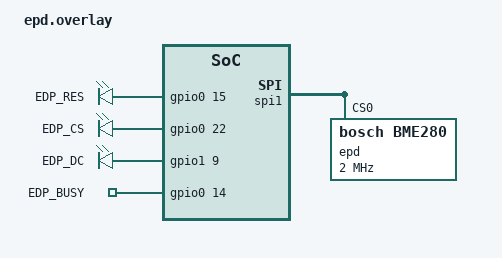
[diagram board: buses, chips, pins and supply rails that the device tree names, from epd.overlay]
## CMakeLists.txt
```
cmake_minimum_required(VERSION 3.20.0)
find_package(Zephyr REQUIRED HINTS $ENV{ZEPHYR_BASE})

project(e-paper)

target_sources(app PRIVATE src/main.c)

target_sources(app PRIVATE src/main.c)
target_sources(app PRIVATE src/epd1in54_V2.c)
target_sources(app PRIVATE src/epdif.c)
target_sources(app PRIVATE
  src/epdpaint.c
  src/font8.c
  src/font12.c
  src/font16.c
  src/font20.c
  src/font24.c
  src/imagedata.c
)
```

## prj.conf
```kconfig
# CONFIG_LOG=y
# CONFIG_LOG_BLOCK_IN_THREAD=y
# CONFIG_LOG_BUFFER_SIZE=4096

CONFIG_MAIN_STACK_SIZE=9000

CONFIG_REBOOT=y
CONFIG_POWEROFF=y
CONFIG_ADC=y
# CONFIG_GPIO=y
CONFIG_SENSOR=y
CONFIG_CLOCK_CONTROL_NRF_K32SRC_RC=y
CONFIG_TRACING=y
CONFIG_TIMESLICING=y
# CONFIG_SERIAL=y
CONFIG_UART_INTERRUPT_DRIVEN=y

CONFIG_SPI=y
# CONFIG_SPI_ASYNC=y
```

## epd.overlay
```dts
// To get started, press Ctrl+Space to bring up the completion menu and view the available nodes.

// You can also use the buttons in the sidebar to perform actions on nodes.
// Actions currently available include:

// * Enabling / disabling the node
// * Adding the bus to a bus
// * Removing the node
// * Connecting ADC channels

// For more help, browse the DeviceTree documentation at https: //docs.zephyrproject.org/latest/guides/dts/index.html
// You can also visit the nRF DeviceTree extension documentation at https: //nrfconnect.github.io/vscode-nrf-connect/devicetree/nrfdevicetree.html
/ {
	epd_out {
		compatible = "gpio-leds";
		 res: res {
			gpios = <&gpio0 15 GPIO_ACTIVE_HIGH>;
			label = "EDP_RES";
		};
		cs: cs {
			gpios = <&gpio0 22 GPIO_ACTIVE_HIGH>;
			label = "EDP_CS";
		};
		dc: dc {
			gpios = <&gpio1 9 GPIO_ACTIVE_HIGH>;
			label = "EDP_DC";
		};
	};

	epd_in {
		compatible = "gpio-keys";
		busy: busy {
			gpios = <&gpio0 14 (GPIO_ACTIVE_HIGH | GPIO_PULL_UP)>;
			label = "EDP_BUSY";
		};
	};
	aliases {
        // respin = "/epd_out/res";
        // cspin = "/epd_out/cs";
        // dcpin = "/epd_out/dc";
        // busypin = "/epd_in/busy";
		respin = &res;
		cspin = &cs;
        dcpin = &dc;
        busypin = &busy;
    };
	
};


&spi1_default {
	group1 {
		psels = <NRF_PSEL(SPIM_SCK, 0, 13)>,
			<NRF_PSEL(SPIM_MISO, 0, 22)>,
			<NRF_PSEL(SPIM_MOSI, 0, 26)>;
	};
};

&spi1_sleep {
	group1 {
		psels = <NRF_PSEL(SPIM_SCK, 0, 13)>,
			<NRF_PSEL(SPIM_MISO, 0, 22)>,
			<NRF_PSEL(SPIM_MOSI, 0, 26)>;
		low-power-enable;
	};
};

epd_spi: &spi1 {
	compatible = "nordic,nrf-spim";
	status = "okay";
	// cs-gpios = <&gpio1 4 GPIO_ACTIVE_LOW>;
	epd: epd@0 {
		compatible = "bosch,bme280";
		reg = <0>;
		spi-max-frequency = <2000000>;
	};
};

uart0_default: &uart0_default {
	group1 {
		psels = <NRF_PSEL(UART_TX, 0, 17)>,
			<NRF_PSEL(UART_RTS, 0, 16)>;
	};
	group2 {
		psels = <NRF_PSEL(UART_RX, 0, 12)>,
			<NRF_PSEL(UART_CTS, 0, 28)>;
		bias-pull-up;
	};
};

uart0_sleep: &uart0_sleep {
	group1 {
		psels = <NRF_PSEL(UART_TX, 0, 17)>,
			<NRF_PSEL(UART_RX, 0, 12)>,
			<NRF_PSEL(UART_RTS, 0, 16)>,
			<NRF_PSEL(UART_CTS, 0, 28)>;
		low-power-enable;
	};
};
```

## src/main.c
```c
#include <zephyr/kernel.h>
#include <stdlib.h>
#include "epd1in54_V2.h"
#include "epdpaint.h"
#include "imagedata.h"
#include "epdif.h"
// #include "fonts.h"

int main(void)
{       
        printk("In main\n");
        uint8_t image[800] = {0xff};
        struct Paint paint;
        paint.image = image;
        
        EpdLDirInit();
        printk("After init\n");
        EpdClear();    
        k_msleep(2000);
                PaintClear(&paint); 
        PaintSetImage(&paint, image);
        PaintSetWidth(&paint, 200);
        PaintSetHeight(&paint, 24);
        PaintSetRotate(&paint, 0);
        printf("Paint initialized: width=%d, height=%d, rotate=%d\n", paint.width, paint.height, paint.rotate);
        PaintDrawStringAt(&paint,30, 4, "Hello world!", &Font16);
        EpdSetFrameMemory(PaintGetImage(&paint), 0, 10, PaintGetWidth(&paint), PaintGetHeight(&paint));
        EpdDisplayFrame();
        k_msleep(2000);
        EpdSleep();

//Increment
//         EpdHDirInit();
//    PaintSetWidth(&paint, 50);
//   PaintSetHeight(&paint, 60);
//   PaintClear(&paint);
//         int i = 0;
//   char str[10][10] = {"0", "1", "2", "3", "4", "5", "6", "7", "8", "9"};
//   for (i = 0; i < 10; i++) {
//     PaintClear(&paint);
//     PaintDrawStringAt(&paint,10, 10, str[i], &Font24);
//     EpdSetFrameMemoryPartial(PaintGetImage(&paint), 80, 70, PaintGetWidth(&paint), PaintGetHeight(&paint)); //Refresh part display
//     EpdDisplayPartFrame();
//     k_msleep(1000);
//   }
        
        

        // EpdHDirInit();
        // EpdDisplayPartBaseImage(papi);
        // printk("e-Paper show pic\n");
        // k_msleep(4000);
        // EpdHDirInit();
        // EpdClear();
        // k_msleep(1000);
        EpdSleep();
        printk("sleep\n");
        return 0;
}
```

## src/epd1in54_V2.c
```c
/*****************************************************************************
* | File        :   epd1in54_V2.c
* | Author      :   Waveshare team
* | Function    :   1.54inch e-paper V2
* | Info        :
*----------------
* | This version:   V1.0
* | Date        :   2019-06-24
* | Info        :
#
# Permission is hereby granted, free of charge, to any person obtaining a copy
# of this software and associated documentation files (the "Software"), to deal
# in the Software without restriction, including without limitation the rights
# to use, copy, modify, merge, publish, distribute, sublicense, and/or sell
# copies of the Software, and to permit persons to whom the Software is
# furnished to do so, subject to the following conditions:
#
# The above copyright notice and this permission notice shall be included in
# all copies or substantial portions of the Software.
#
# THE SOFTWARE IS PROVIDED "AS IS", WITHOUT WARRANTY OF ANY KIND, EXPRESS OR
# IMPLIED, INCLUDING BUT NOT LIMITED TO THE WARRANTIES OF MERCHANTABILITY,
# FITNESS OR A PARTICULAR PURPOSE AND NONINFRINGEMENT. IN NO EVENT SHALL THE
# AUTHORS OR COPYRIGHT HOLDERS BE LIABLE FOR ANY CLAIM, DAMAGES OR OTHER
# LIABILITY, WHETHER IN AN ACTION OF CONTRACT, TORT OR OTHERWISE, ARISING FROM,
# OUT OF OR IN CONNECTION WITH THE SOFTWARE OR THE USE OR OTHER DEALINGS IN
# THE SOFTWARE.
#
******************************************************************************/

#include <stdlib.h>
#include "epd1in54_V2.h"

// waveform full refresh
uint8_t WF_Full_1IN54[159] = {											
    0x80, 0x48, 0x40, 0x0, 0x0, 0x0, 0x0, 0x0, 0x0, 0x0, 0x0, 0x0,
    0x40, 0x48, 0x80, 0x0, 0x0, 0x0, 0x0, 0x0, 0x0, 0x0, 0x0, 0x0,
    0x80, 0x48, 0x40, 0x0, 0x0, 0x0, 0x0, 0x0, 0x0, 0x0, 0x0, 0x0,
    0x40, 0x48, 0x80, 0x0, 0x0, 0x0, 0x0, 0x0, 0x0, 0x0, 0x0, 0x0,
    0x0, 0x0, 0x0, 0x0, 0x0, 0x0, 0x0, 0x0, 0x0, 0x0, 0x0, 0x0,
    0xA, 0x0, 0x0, 0x0, 0x0, 0x0, 0x0,
    0x8, 0x1, 0x0, 0x8, 0x1, 0x0, 0x2,
    0xA, 0x0, 0x0, 0x0, 0x0, 0x0, 0x0,
    0x0, 0x0, 0x0, 0x0, 0x0, 0x0, 0x0,
    0x0, 0x0, 0x0, 0x0, 0x0, 0x0, 0x0,
    0x0, 0x0, 0x0, 0x0, 0x0, 0x0, 0x0,
    0x0, 0x0, 0x0, 0x0, 0x0, 0x0, 0x0,
    0x0, 0x0, 0x0, 0x0, 0x0, 0x0, 0x0,
    0x0, 0x0, 0x0, 0x0, 0x0, 0x0, 0x0,
    0x0, 0x0, 0x0, 0x0, 0x0, 0x0, 0x0,
    0x0, 0x0, 0x0, 0x0, 0x0, 0x0, 0x0,
    0x0, 0x0, 0x0, 0x0, 0x0, 0x0, 0x0,
    0x22, 0x22, 0x22, 0x22, 0x22, 0x22, 0x0, 0x0, 0x0,
    0x22, 0x17, 0x41, 0x0, 0x32, 0x20
};

// waveform partial refresh(fast)
uint8_t WF_PARTIAL_1IN54_0[159] = {
    0x0, 0x40, 0x0, 0x0, 0x0, 0x0, 0x0, 0x0, 0x0, 0x0, 0x0, 0x0,
    0x80, 0x80, 0x0, 0x0, 0x0, 0x0, 0x0, 0x0, 0x0, 0x0, 0x0, 0x0,
    0x40, 0x40, 0x0, 0x0, 0x0, 0x0, 0x0, 0x0, 0x0, 0x0, 0x0, 0x0,
    0x0, 0x80, 0x0, 0x0, 0x0, 0x0, 0x0, 0x0, 0x0, 0x0, 0x0, 0x0,
    0x0, 0x0, 0x0, 0x0, 0x0, 0x0, 0x0, 0x0, 0x0, 0x0, 0x0, 0x0,
    0xF, 0x0, 0x0, 0x0, 0x0, 0x0, 0x0,
    0x1, 0x1, 0x0, 0x0, 0x0, 0x0, 0x0,
    0x0, 0x0, 0x0, 0x0, 0x0, 0x0, 0x0,
    0x0, 0x0, 0x0, 0x0, 0x0, 0x0, 0x0,
    0x0, 0x0, 0x0, 0x0, 0x0, 0x0, 0x0,
    0x0, 0x0, 0x0, 0x0, 0x0, 0x0, 0x0,
    0x0, 0x0, 0x0, 0x0, 0x0, 0x0, 0x0,
    0x0, 0x0, 0x0, 0x0, 0x0, 0x0, 0x0,
    0x0, 0x0, 0x0, 0x0, 0x0, 0x0, 0x0,
    0x0, 0x0, 0x0, 0x0, 0x0, 0x0, 0x0,
    0x0, 0x0, 0x0, 0x0, 0x0, 0x0, 0x0,
    0x0, 0x0, 0x0, 0x0, 0x0, 0x0, 0x0,
    0x22, 0x22, 0x22, 0x22, 0x22, 0x22, 0x0, 0x0, 0x0,
    0x02, 0x17, 0x41, 0xB0, 0x32, 0x28,
};

void EpdDestructor()
{
    // Destructor
}

void EpdConstructor()
{
    // 200 = EPD_WIDTH;
    // 200 = EPD_HEIGHT;
}

/**
 *  @brief: basic function for sending commands
 */
void EpdSendCommand(uint8_t command)
{
    EpdIfDigitalWriteDC(0);
    // EpdWaitUntilIdle();
    EpdIfSpiTransfer(command);
}

/**
 *  @brief: basic function for sending data
 */
void EpdSendData(uint8_t data)
{
    EpdIfDigitalWriteDC(1);
    EpdIfSpiTransfer(data);
}

/**
 *  @brief: Wait until the busy_pin goes HIGH
 */
void EpdWaitUntilIdle()
{
    // while(EpdIfDigitalRead() == 1) {      //LOW: idle, HIGH: busy
    //     DelayMs(100);
    // }
    DelayMs(200);
}

void EpdLut(uint8_t* lut)
{
    EpdSendCommand(0x32);
    for(uint8_t i = 0; i < 153; i++)
        EpdSendData(lut[i]);
    EpdWaitUntilIdle();
}

void EpdSetLut(uint8_t* lut)
{
    EpdLut(lut);
    
    EpdSendCommand(0x3f);
    EpdSendData(lut[153]);
    
    EpdSendCommand(0x03);
    EpdSendData(lut[154]);
    
    EpdSendCommand(0x04);
    EpdSendData( lut[155]);
    EpdSendData( lut[156]);
    EpdSendData( lut[157]);
    
    EpdSendCommand(0x2c);
    EpdSendData(lut[158]);
}

// High Direction
int EpdHDirInit()
{
    /* this calls the peripheral hardware interface, see epdif */
    if (EpdIfInit() != 0) {
        return -1;
    }
    /* EPD hardware init start */
    EpdReset();

    EpdWaitUntilIdle();
    EpdSendCommand(0x12);  //SWRESET
    EpdWaitUntilIdle();

    EpdSendCommand(0x01); //Driver output control
    EpdSendData(0xC7);
    EpdSendData(0x00);
    EpdSendData(0x01);

    EpdSendCommand(0x11); //data entry mode
    EpdSendData(0x01);

    EpdSendCommand(0x44); //set Ram-X address start/end position
    EpdSendData(0x00);
    EpdSendData(0x18);    //0x0C-->(18+1)*8=200

    EpdSendCommand(0x45); //set Ram-Y address start/end position
    EpdSendData(0xC7);   //0xC7-->(199+1)=200
    EpdSendData(0x00);
    EpdSendData(0x00);
    EpdSendData(0x00);

    EpdSendCommand(0x3C); //BorderWavefrom
    EpdSendData(0x01);

    EpdSendCommand(0x18);
    EpdSendData(0x80);

    EpdSendCommand(0x22); // //Enable clock signal.
    EpdSendData(0xB1);
    EpdSendCommand(0x20);
    EpdWaitUntilIdle();


    EpdSendCommand(0x4E);   // set RAM x address count to 0;
    EpdSendData(0x00);
    EpdSendCommand(0x4F);   // set RAM y address count to 0X199;
    EpdSendData(0xC7);
    EpdSendData(0x00);
    EpdWaitUntilIdle();

    EpdSetLut(WF_Full_1IN54);
    /* EPD hardware init end */

    return 0;
}

// Low Direction
int EpdLDirInit()
{
    /* this calls the peripheral hardware interface, see epdif */
    if (EpdIfInit() != 0) {
        return -1;
    }
    /* EPD hardware init start */
    EpdReset();
    EpdWaitUntilIdle();
    EpdSendCommand(0x12);  //SWRESET
    EpdWaitUntilIdle();

    EpdSendCommand(0x01); //Driver output control
    EpdSendData(0xC7);
    EpdSendData(0x00);
    EpdSendData(0x00);

    EpdSendCommand(0x11); //data entry mode
    EpdSendData(0x03);

    EpdSendCommand(0x44);
    /* x point must be the multiple of 8 or the last 3 bits will be ignored */
    EpdSendData((0 >> 3) & 0xFF);
    EpdSendData((199 >> 3) & 0xFF);
    EpdSendCommand(0x45);
    EpdSendData(0 & 0xFF);
    EpdSendData((0 >> 8) & 0xFF);
    EpdSendData(199 & 0xFF);
    EpdSendData((199 >> 8) & 0xFF);

    EpdSendCommand(0x3C); //BorderWavefrom
    EpdSendData(0x01);

    EpdSendCommand(0x18);
    EpdSendData(0x80);

    EpdSendCommand(0x22); // //Load Temperature and waveform setting.
    EpdSendData(0xB1);
    EpdSendCommand(0x20);

    EpdSendCommand(0x4E);   // set RAM x address count to 0;
    EpdSendData(0x00);
    EpdSendCommand(0x4F);   // set RAM y address count to 0X199;
    EpdSendData(0xC7);
    EpdSendData(0x00);
    EpdWaitUntilIdle();

    EpdSetLut(WF_Full_1IN54);
    /* EPD hardware init end */

    return 0;
}


/**
 *  @brief: module reset.
 *          often used to awaken the module in deep sleep,
 *          see Epd::Sleep();
 */
void EpdReset()
{
    // EpdIfDigitalWriteRST(1);
    // DelayMs(20);
    EpdIfDigitalWriteRST(0);                //module reset
    DelayMs(10);
    EpdIfDigitalWriteRST(1);
    DelayMs(20);
}

void EpdClear()
{
    int w, h;
    w = (EPD_WIDTH % 8 == 0)? (EPD_WIDTH / 8 ): (EPD_WIDTH / 8 + 1);
    h = EPD_HEIGHT;
 
    EpdSendCommand(0x24);
    for (int j = 0; j < h; j++) {
        for (int i = 0; i < w; i++) {
            EpdSendData(0xff);
        }
    }
    EpdSendCommand(0x26);
    for (int j = 0; j < h; j++) {
        for (int i = 0; i < w; i++) {
            EpdSendData(0xff);
        }
    }
    //DISPLAY REFRESH
    EpdDisplayFrame();
}

void EpdDisplay(uint8_t* frame_buffer)
{
    int w = (EPD_WIDTH % 8 == 0)? (EPD_WIDTH / 8 ): (EPD_WIDTH / 8 + 1);
    int h = EPD_HEIGHT;

    if (frame_buffer != NULL) {
        EpdSendCommand(0x24);
        for (int j = 0; j < h; j++) {
            for (int i = 0; i < w; i++) {
                EpdSendData( frame_buffer[i + j * w]);
            }
        }
    }

    //DISPLAY REFRESH
    EpdDisplayFrame();
}

void EpdDisplayPartBaseImage(uint8_t* frame_buffer)
{
    int w = (EPD_WIDTH % 8 == 0)? (EPD_WIDTH / 8 ): (EPD_WIDTH / 8 + 1);
    int h = EPD_HEIGHT;

    if (frame_buffer != NULL) {
        EpdSendCommand(0x24);
        for (int j = 0; j < h; j++) {
            for (int i = 0; i < w; i++) {
                EpdSendData(frame_buffer[i + j * w]);
            }
        }

        EpdSendCommand( 0x26);
        for (int j = 0; j < h; j++) {
            for (int i = 0; i < w; i++) {
                EpdSendData(frame_buffer[i + j * w]);
            }
        }
    }

    //DISPLAY REFRESH
    EpdDisplayFrame();
}

void EpdDisplayPartBaseWhiteImage()
{
    int w = (EPD_WIDTH % 8 == 0)? (EPD_WIDTH / 8 ): (EPD_WIDTH / 8 + 1);
    int h = EPD_HEIGHT;

    EpdSendCommand(0x24);
    for (int j = 0; j < h; j++) {
        for (int i = 0; i < w; i++) {
            EpdSendData(0xff);
        }
    }

    EpdSendCommand(0x26);
    for (int j = 0; j < h; j++) {
        for (int i = 0; i < w; i++) {
            EpdSendData(0xff);
        }
    }

    //DISPLAY REFRESH
    EpdDisplayFrame();
}

void EpdDisplayPart(uint8_t* frame_buffer)
{
    int w = (EPD_WIDTH % 8 == 0)? (EPD_WIDTH / 8 ): (EPD_WIDTH / 8 + 1);
    int h = EPD_HEIGHT;

    if (frame_buffer != NULL) {
        EpdSendCommand( 0x24);
        for (int j = 0; j < h; j++) {
            for (int i = 0; i < w; i++) {
                EpdSendData( frame_buffer[i + j * w]);
            }
        }
    }

    //DISPLAY REFRESH
    EpdDisplayPartFrame();
}


/**
 *  @brief: private function to specify the memory area for data R/W
 */
void EpdSetMemoryArea(int x_start, int y_start, int x_end, int y_end)
{
    EpdSendCommand(0x44);
    /* x point must be the multiple of 8 or the last 3 bits will be ignored */
    EpdSendData( (x_start >> 3) & 0xFF);
    EpdSendData( (x_end >> 3) & 0xFF);
    EpdSendCommand( 0x45);
    EpdSendData( y_start & 0xFF);
    EpdSendData( (y_start >> 8) & 0xFF);
    EpdSendData( y_end & 0xFF);
    EpdSendData( (y_end >> 8) & 0xFF);
}

/**
 *  @brief: private function to specify the start point for data R/W
 */
void EpdSetMemoryPointer(int x, int y)
{
    EpdSendCommand(0x4e);
    /* x point must be the multiple of 8 or the last 3 bits will be ignored */
    EpdSendData((x >> 3) & 0xFF);
    EpdSendCommand(0x4F);
    EpdSendData(y & 0xFF);
    EpdSendData((y >> 8) & 0xFF);
    EpdWaitUntilIdle();
}


/**
 *  @brief: update the display
 *          there are 2 memory areas embedded in the e-paper display
 *          but once this function is called,
 *          the the next action of SetFrameMemory or ClearFrame will
 *          set the other memory area.
 */
void EpdDisplayFrame()
{
    //DISPLAY REFRESH
    EpdSendCommand(0x22);
    EpdSendData(0xc7);
    EpdSendCommand(0x20);
    EpdWaitUntilIdle();

}

void EpdDisplayPartFrame()
{
    EpdSendCommand( 0x22);
    EpdSendData( 0xcF);
    EpdSendCommand( 0x20);
    EpdWaitUntilIdle();
}


void EpdSetFrameMemory(uint8_t* image_buffer, int x, int y, int image_width, int image_height)
{
    int x_end;
    int y_end;
    
    EpdIfDigitalWriteRST(0);                //module reset
    DelayMs(2);
    EpdIfDigitalWriteRST(1);
    DelayMs(2);
    EpdSendCommand(0x3c);
    EpdSendData(0x80);

    if (image_buffer == NULL || x < 0 || image_width < 0 || y < 0 || image_height < 0) {
        return;
    }
    /* x point must be the multiple of 8 or the last 3 bits will be ignored */
    x &= 0xF8;
    image_width &= 0xF8;
    if (x + image_width >= 200) {
        x_end = 200 - 1;
    } else {
        x_end = x + image_width - 1;
    }
    if (y + image_height >= 200) {
        y_end = 200 - 1;
    } else {
        y_end = y + image_height - 1;
    }
    EpdSetMemoryArea(x, y, x_end, y_end);
    EpdSetMemoryPointer(x, y);
    EpdSendCommand(0x24);
    /* send the image data */
    for (int j = 0; j < y_end - y + 1; j++) {
        for (int i = 0; i < (x_end - x + 1) / 8; i++) {
            EpdSendData( image_buffer[i + j * (image_width / 8)]);
        }
    }
}

void EpdSetFrameMemoryPartial(uint8_t* image_buffer, int x, int y, int image_width, int image_height)
{
    int x_end;
    int y_end;
    
    EpdIfDigitalWriteRST(0);                //module reset
    DelayMs(2);
    EpdIfDigitalWriteRST(1);
    DelayMs(2);

    EpdSetLut( WF_PARTIAL_1IN54_0);
    EpdSendCommand( 0x37); 
    EpdSendData( 0x00);  
    EpdSendData( 0x00);  
    EpdSendData( 0x00);  
    EpdSendData( 0x00); 
    EpdSendData( 0x00);  	
    EpdSendData( 0x40);  
    EpdSendData( 0x00);  
    EpdSendData( 0x00);   
    EpdSendData( 0x00);  
    EpdSendData( 0x00);

    EpdSendCommand( 0x3c);
    EpdSendData( 0x80);

    EpdSendCommand( 0x22); 
    EpdSendData( 0xc0); 
    EpdSendCommand( 0x20); 
    EpdWaitUntilIdle();
    
    if (image_buffer == NULL || x < 0 || image_width < 0 || y < 0 || image_height < 0) {
        return;
    }
    /* x point must be the multiple of 8 or the last 3 bits will be ignored */
    x &= 0xF8;
    image_width &= 0xF8;
    if (x + image_width >= 200) {
        x_end = 200 - 1;
    } else {
        x_end = x + image_width - 1;
    }
    if (y + image_height >= 200) {
        y_end = 200 - 1;
    } else {
        y_end = y + image_height - 1;
    }
    EpdSetMemoryArea( x, y, x_end, y_end);
    EpdSetMemoryPointer( x, y);
    EpdSendCommand( 0x24);
    /* send the image data */
    for (int j = 0; j < y_end - y + 1; j++) {
        for (int i = 0; i < (x_end - x + 1) / 8; i++) {
            EpdSendData( image_buffer[i + j * (image_width / 8)]);
        }
    }
}

/**
 *  @brief: After this command is transmitted, the chip would enter the
 *          deep-sleep mode to save power.
 *          The deep sleep mode would return to standby by hardware reset.
 *          The only one parameter is a check code, the command would be
 *          executed if check code = 0xA5.
 *          You can use Epd::Init() to awaken
 */
void EpdSleep()
{
    EpdSendCommand(0x10); //enter deep sleep
    EpdSendData(0x01);
    DelayMs(200);

    EpdIfDigitalWriteRST(0);
}
```

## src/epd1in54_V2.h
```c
/*****************************************************************************
* | File       :   epd1in54_V2.h
* | Author     :   Waveshare team
* | Function   :   1.54inch e-paper V2
* | Info       :
*----------------
* | This version:   V1.0
* | Date        :   2019-06-24
* | Info        :
#
# Permission is hereby granted, free of charge, to any person obtaining a copy
# of this software and associated documentation files (the "Software"), to deal
# in the Software without restriction, including without limitation the rights
# to use, copy, modify, merge, publish, distribute, sublicense, and/or sell
# copies of the Software, and to permit persons to whom the Software is
# furnished to do so, subject to the following conditions:
#
# The above copyright notice and this permission notice shall be included in
# all copies or substantial portions of the Software.
#
# THE SOFTWARE IS PROVIDED "AS IS", WITHOUT WARRANTY OF ANY KIND, EXPRESS OR
# IMPLIED, INCLUDING BUT NOT LIMITED TO THE WARRANTIES OF MERCHANTABILITY,
# FITNESS OR A PARTICULAR PURPOSE AND NONINFRINGEMENT. IN NO EVENT SHALL THE
# AUTHORS OR COPYRIGHT HOLDERS BE LIABLE FOR ANY CLAIM, DAMAGES OR OTHER
# LIABILITY WHETHER IN AN ACTION OF CONTRACT, TORT OR OTHERWISE, ARISING FROM,
# OUT OF OR IN CONNECTION WITH THE SOFTWARE OR THE USE OR OTHER DEALINGS IN
# THE SOFTWARE.
#
******************************************************************************/

#ifndef EPD1IN54_V2_H
#define EPD1IN54_V2_H

#include "epdif.h"

// Display resolution
#define EPD_WIDTH       200
#define EPD_HEIGHT      200

// typedef struct {
//      long width;
//     unsigned long height;
//     unsigned int reset_pin;
//     unsigned int dc_pin;
//     unsigned int cs_pin;
//     unsigned int busy_pin;
// } Epd;

void EpdInit();
void EpdDestructor();

int EpdLDirInit();
int EpdHDirInit();
void EpdSendCommand(uint8_t command);
void EpdSendData(uint8_t data);
void EpdWaitUntilIdle();
void EpdReset();
void EpdClear();
void EpdDisplay(uint8_t* frame_buffer);
void EpdDisplayPartBaseImage(uint8_t* frame_buffer);
void EpdDisplayPartBaseWhiteImage();
void EpdDisplayPart(uint8_t* frame_buffer);
void EpdSetFrameMemory(
        uint8_t* image_buffer,
        int x,
        int y,
        int image_width,
        int image_height
);
void EpdSetFrameMemoryPartial(
        uint8_t* image_buffer,
        int x,
        int y,
        int image_width,
        int image_height
);
void EpdDisplayFrame();
void EpdDisplayPartFrame();
void EpdSleep();

void EpdLut(uint8_t* lut);
void EpdSetLut(uint8_t* lut);
void EpdSetMemoryArea(int x_start, int y_start, int x_end, int y_end);
void EpdSetMemoryPointer(int x, int y);

#endif /* EPD1IN54_V2_H */

/* END OF FILE */
```

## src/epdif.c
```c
/**
 *  @filename   :   epdif.c
 *  @brief      :   Implements EPD interface functions for Zephyr
 *                  Users have to implement all the functions in epdif.c
 *  @author     :   Yehui from Waveshare
 *
 *  Copyright (C) Waveshare     August 10 2017
 *
 * Permission is hereby granted, free of charge, to any person obtaining a copy
 * of this software and associated documentation files (the "Software"), to deal
 * in the Software without restriction, including without limitation the rights
 * to use, copy, modify, merge, publish, distribute, sublicense, and/or sell
 * copies of the Software, and to permit persons to whom the Software is
 * furnished to do so, subject to the following conditions:
 *
 * The above copyright notice and this permission notice shall be included in
 * all copies or substantial portions of the Software.
 *
 * THE SOFTWARE IS PROVIDED "AS IS", WITHOUT WARRANTY OF ANY KIND, EXPRESS OR
 * IMPLIED, INCLUDING BUT NOT LIMITED TO THE WARRANTIES OF MERCHANTABILITY,
 * FITNESS OR A PARTICULAR PURPOSE AND NONINFRINGEMENT. IN NO EVENT SHALL THE
 * AUTHORS OR COPYRIGHT HOLDERS BE LIABLE FOR ANY CLAIM, DAMAGES OR OTHER
 * LIABILITY WHETHER IN AN ACTION OF CONTRACT, TORT OR OTHERWISE, ARISING FROM,
 * OUT OF OR IN CONNECTION WITH THE SOFTWARE OR THE USE OR OTHER DEALINGS IN
 * THE SOFTWARE.
 */

#include "epdif.h"
#include <zephyr/kernel.h>
#include <zephyr/device.h>
#include <zephyr/drivers/sensor.h>
#include <stdio.h>
#include <zephyr/drivers/gpio.h>

#define RES DT_ALIAS(respin) //res
#define EPD_CS DT_ALIAS(cspin) //cs
// #define EPD_CS DT_ALIAS(led2) //cs
#define EPD_DC DT_ALIAS(dcpin) //dc
// #define EPD_DC DT_ALIAS(led1) //dc
#define EPD_BUSY DT_ALIAS(busypin) //busy

struct gpio_dt_spec rst = GPIO_DT_SPEC_GET(RES, gpios);
struct gpio_dt_spec dc = GPIO_DT_SPEC_GET(EPD_DC, gpios);
struct gpio_dt_spec cs = GPIO_DT_SPEC_GET(EPD_CS, gpios);
struct gpio_dt_spec busy = GPIO_DT_SPEC_GET(EPD_BUSY, gpios);

#define SPI_EPD  (SPI_OP_MODE_MASTER | SPI_MODE_CPHA | SPI_MODE_CPOL | SPI_WORD_SET(8) | SPI_LINES_SINGLE | SPI_TRANSFER_MSB)

// Buffers for communication with EPD
__attribute__((aligned(4))) unsigned char epd_rbuf[10000];    // buffer for data read from EPD
__attribute__((aligned(4))) unsigned char epd_wbuf[10000];    // buffer for data written to EPD

// Buffer structures
struct spi_buf bmp_tx_bufs[1];
struct spi_buf bmp_rx_bufs[1];

// Buffer arrays
const struct spi_buf_set bptx = {
    .buffers = bmp_tx_bufs,
    .count = ARRAY_SIZE(bmp_tx_bufs)
};

const struct spi_buf_set bprx = {
    .buffers = bmp_rx_bufs,
    .count = ARRAY_SIZE(bmp_rx_bufs)
};

// SPI device specification
const struct spi_dt_spec spi_dev = SPI_DT_SPEC_GET(DT_NODELABEL(epd), SPI_EPD, 0);

// LOG_MODULE_REGISTER();


int EpdIfInit(void) {
    int ret;
    if (!device_is_ready(spi_dev.bus)) {
        printk("w init spi\n");
        return -1;
    }

    if (!device_is_ready(rst.port) || !device_is_ready(dc.port) ||!device_is_ready(cs.port) ||!device_is_ready(busy.port) ) {
        printk("w init gpio\n");
		return -1;
	}

    ret = gpio_pin_configure_dt(&rst, GPIO_OUTPUT_ACTIVE);
    if (ret < 0) {
        printk("w init rst\n");
		return -1 ;
	}
    ret = gpio_pin_configure_dt(&dc, GPIO_OUTPUT_ACTIVE);
    if (ret < 0) {
        printk("w init dc\n");
		return -1;
	}
    ret = gpio_pin_configure_dt(&cs, GPIO_OUTPUT_ACTIVE);
    if (ret < 0) {
        printk("w init cs\n");
		return - 1;
	}
    ret = gpio_pin_configure_dt(&busy, GPIO_INPUT);
    if (ret < 0) {
        printk("w init busy\n");
		return -1;
	}


    return 0;
}

void EpdIfDigitalWriteRST(int value) {
    gpio_pin_set_dt(&rst, value);
}
void EpdIfDigitalWriteDC(int value) {
    gpio_pin_set_dt(&dc, value);
}
void EpdIfDigitalWriteCS(int value) {
    gpio_pin_set_dt(&cs, value);
}

int EpdIfDigitalRead() {
    return gpio_pin_get_dt(&busy);
}

void DelayMs(int delaytime) {
    k_msleep(delaytime);
}


void EpdIfSpiTransfer(uint8_t data) {
    epd_wbuf[0] = data;
    bmp_tx_bufs[0].buf = epd_wbuf;
    bmp_rx_bufs[0].buf = epd_rbuf;
    bmp_tx_bufs[0].len = 1;
    bmp_rx_bufs[0].len = 1;
    EpdIfDigitalWriteCS(0);
    spi_transceive_dt(&spi_dev, &bptx, &bprx);
    EpdIfDigitalWriteCS(1);
}
```

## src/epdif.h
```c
/**
 *  @filename   :   epdif.h
 *  @brief      :   Header file of epdif.cpp providing EPD interface functions
 *                  Users have to implement all the functions in epdif.cpp
 *  @author     :   Yehui from Waveshare
 *
 *  Copyright (C) Waveshare     August 10 2017
 *
 * Permission is hereby granted, free of charge, to any person obtaining a copy
 * of this software and associated documentation files (the "Software"), to deal
 * in the Software without restriction, including without limitation the rights
 * to use, copy, modify, merge, publish, distribute, sublicense, and/or sell
 * copies of the Software, and to permit persons to whom the Software is
 * furnished to do so, subject to the following conditions:
 *
 * The above copyright notice and this permission notice shall be included in
 * all copies or substantial portions of the Software.
 *
 * THE SOFTWARE IS PROVIDED "AS IS", WITHOUT WARRANTY OF ANY KIND, EXPRESS OR
 * IMPLIED, INCLUDING BUT NOT LIMITED TO THE WARRANTIES OF MERCHANTABILITY,
 * FITNESS OR A PARTICULAR PURPOSE AND NONINFRINGEMENT. IN NO EVENT SHALL THE
 * AUTHORS OR COPYRIGHT HOLDERS BE LIABLE FOR ANY CLAIM, DAMAGES OR OTHER
 * LIABILITY WHETHER IN AN ACTION OF CONTRACT, TORT OR OTHERWISE, ARISING FROM,
 * OUT OF OR IN CONNECTION WITH THE SOFTWARE OR THE USE OR OTHER DEALINGS IN
 * THE SOFTWARE.
 */

#ifndef EPDIF_H
#define EPDIF_H

#include <zephyr/kernel.h>
#include <zephyr/device.h>
#include <zephyr/types.h>
#include <zephyr/drivers/gpio.h>
#include <zephyr/drivers/spi.h>
#include <stdint.h>




int  EpdIfInit(void);
void EpdIfDigitalWriteRST(int value); 
void EpdIfDigitalWriteDC(int value);
void EpdIfDigitalWriteCS(int value);
int  EpdIfDigitalRead();
void DelayMs(int delaytime);
void EpdIfSpiTransfer(uint8_t data);


#endif /* EPDIF_H */
```

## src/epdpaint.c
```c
/**
 *  @filename   :   epdpaint.c
 *  @brief      :   Implements EPD paint functions for Zephyr
 *  @date       :   May 26 2024
 *  @modified by:   ChatGPT
 */

#include "epdpaint.h"

void PaintInit(struct Paint* paint, unsigned char* image, int width, int height) {
    // paint->image = image;
    // paint->width = width % 8 ? width + 8 - (width % 8) : width;
    // paint->height = height;
    // paint->rotate = 0;
}

void PaintClear(struct Paint* paint) {
    for (int x = 0; x < paint->width; x++) {
        for (int y = 0; y < paint->height; y++) {
            PaintDrawAbsolutePixel(paint, x, y);
        }
    }
}

void PaintSetImage(struct Paint* paint, uint8_t* image) {
    paint->image = image;
}

int PaintGetWidth(struct Paint* paint) {
    return paint->width;
}

void PaintSetWidth(struct Paint* paint, int width) {
    paint->width = width % 8 ? width + 8 - (width % 8) : width;
}

int PaintGetHeight(struct Paint* paint) {
    return paint->height;
}

void PaintSetHeight(struct Paint* paint, int height) {
    paint->height = height;
}

int PaintGetRotate(struct Paint* paint) {
    return paint->rotate;
}

void PaintSetRotate(struct Paint* paint, int rotate) {
    paint->rotate = rotate;
}

uint8_t* PaintGetImage(struct Paint* paint) {
    return paint->image;
}

void PaintDrawAbsolutePixel(struct Paint* paint, int x, int y) {
    if (x < 0 || x >= paint->width || y < 0 || y >= paint->height) {
        return;
    }
         paint->image[(x + y * paint->width) / 8] |= 0x80 >> (x % 8); // White text on black background
        // paint->image[(x + y * paint->width) / 8] &= ~(0x80 >> (x % 8)); // Black text on white backround, not teted
}

void PaintDrawPixel(struct Paint* paint, int x, int y) {
    if (paint->rotate == 0) {
        if (x < 0 || x >= paint->width || y < 0 || y >= paint->height) {
            return;
        }
        PaintDrawAbsolutePixel(paint, x, y);
    } else if (paint->rotate == 90) {
        if (x < 0 || x >= paint->height || y < 0 || y >= paint->width) {
            return;
        }
        int temp = x;
        x = paint->width - y - 1;
        y = temp;
        PaintDrawAbsolutePixel(paint, x, y);
    } else if (paint->rotate == 180) {
        if (x < 0 || x >= paint->width || y < 0 || y >= paint->height) {
            return;
        }
        x = paint->width - x - 1;
        y = paint->height - y - 1;
        PaintDrawAbsolutePixel(paint, x, y);
    } else if (paint->rotate == 270) {
        if (x < 0 || x >= paint->height || y < 0 || y >= paint->width) {
            return;
        }
        int temp = x;
        x = y;
        y = paint->height - temp - 1;
        PaintDrawAbsolutePixel(paint, x, y);
    }
}

void PaintDrawCharAt(struct Paint* paint, int x, int y, char ascii_char, const sFONT* font) {
    int i, j;
    unsigned int char_offset = (ascii_char - ' ') * font->Height * (font->Width / 8 + (font->Width % 8 ? 1 : 0));
    const unsigned char* ptr = &font->table[char_offset];

    for (j = 0; j < font->Height; j++) {
        for (i = 0; i < font->Width; i++) {
            if (*ptr & (0x80 >> (i % 8))) {
                PaintDrawPixel(paint, x + i, y + j);
            }
            if (i % 8 == 7) {
                ptr++;
            }
        }
        if (font->Width % 8 != 0) {
            ptr++;
        }
    }
}

void PaintDrawStringAt(struct Paint* paint, int x, int y, const char* text, const sFONT* font) {
    const char* p_text = text;
    int refcolumn = x;

    while (*p_text != 0) {
        PaintDrawCharAt(paint, refcolumn, y, *p_text, font);
        refcolumn += font->Width;
        p_text++;
    }
}

void PaintDrawLine(struct Paint* paint, int x0, int y0, int x1, int y1) {
    int dx = abs(x1 - x0);
    int sx = x0 < x1 ? 1 : -1;
    int dy = -abs(y1 - y0);
    int sy = y0 < y1 ? 1 : -1;
    int err = dx + dy;
    int e2;

    while (1) {
        PaintDrawPixel(paint, x0, y0);
        if (x0 == x1 && y0 == y1) break;
        e2 = 2 * err;
        if (e2 >= dy) {
            err += dy;
            x0 += sx;
        }
        if (e2 <= dx) {
            err += dx;
            y0 += sy;
        }
    }
}

void PaintDrawHorizontalLine(struct Paint* paint, int x, int y, int width) {
    int i;
    for (i = x; i < x + width; i++) {
        PaintDrawPixel(paint, i, y);
    }
}

void PaintDrawVerticalLine(struct Paint* paint, int x, int y, int height) {
    int i;
    for (i = y; i < y + height; i++) {
        PaintDrawPixel(paint, x, i);
    }
}

void PaintDrawRectangle(struct Paint* paint, int x0, int y0, int x1, int y1) {
    int min_x = (x0 < x1) ? x0 : x1;
    int max_x = (x0 > x1) ? x0 : x1;
    int min_y = (y0 < y1) ? y0 : y1;
    int max_y = (y0 > y1) ? y0 : y1;

    PaintDrawHorizontalLine(paint, min_x, min_y, max_x - min_x + 1);
    PaintDrawHorizontalLine(paint, min_x, max_y, max_x - min_x + 1);
    PaintDrawVerticalLine(paint, min_x, min_y, max_y - min_y + 1);
    PaintDrawVerticalLine(paint, max_x, min_y, max_y - min_y + 1);
}

void PaintDrawCircle(struct Paint* paint, int x, int y, int radius) {
    int xi = -radius;
    int yi = 0;
    int err = 2 - 2 * radius;
    int e2;

    do {
        PaintDrawPixel(paint, x - xi, y + yi);
        PaintDrawPixel(paint, x + xi, y + yi);
        PaintDrawPixel(paint, x + xi, y - yi);
        PaintDrawPixel(paint, x - xi, y - yi);
        e2 = err;
        if (e2 <= yi) {
            err += ++yi * 2 + 1;
            if (-xi == yi && e2 <= xi) {
                e2 = 0;
            }
        }
        if (e2 > xi) {
            err += ++xi * 2 + 1;
        }
    } while (xi <= 0);
}
```

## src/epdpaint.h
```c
/**
 *  @filename   :   epdpaint.h
 *  @brief      :   Header file for epdpaint.c
 *  @date       :   May 26 2024
 *  @modified by:   ChatGPT
 */

#ifndef EPPAINT_H
#define EPPAINT_H

#include <stdint.h>
#include <stdlib.h>
#include <string.h>
#include "fonts.h"

// #define COLORED     0
// #define UNCOLORED   1

struct Paint{
    uint8_t* image;
    int width;
    int height;
    int rotate;
};

void PaintInit(struct  Paint* paint, unsigned char* image, int width, int height);
void PaintClear(struct Paint* paint);
int PaintGetWidth(struct Paint* paint);
void PaintSetWidth(struct Paint* paint, int width);
int PaintGetHeight(struct Paint* paint);
void PaintSetHeight(struct Paint* paint, int height);
int PaintGetRotate(struct Paint* paint);
void PaintSetRotate(struct Paint* paint, int rotate);
void PaintSetImage(struct Paint* paint, uint8_t* image);
uint8_t* PaintGetImage(struct Paint* paint);
void PaintDrawAbsolutePixel(struct Paint* paint, int x, int y);
void PaintDrawPixel(struct Paint* paint, int x, int y);
void PaintDrawCharAt(struct Paint* paint, int x, int y, char ascii_char, const sFONT* font);
void PaintDrawStringAt(struct Paint* paint, int x, int y, const char* text, const sFONT* font);
void PaintDrawLine(struct Paint* paint, int x0, int y0, int x1, int y1);
void PaintDrawHorizontalLine(struct Paint* paint, int x, int y, int width);
void PaintDrawVerticalLine(struct Paint* paint, int x, int y, int height);
void PaintDrawRectangle(struct Paint* paint, int x0, int y0, int x1, int y1);
void PaintDrawCircle(struct Paint* paint, int x, int y, int radius);

#endif /* EPPAINT_H */
```
